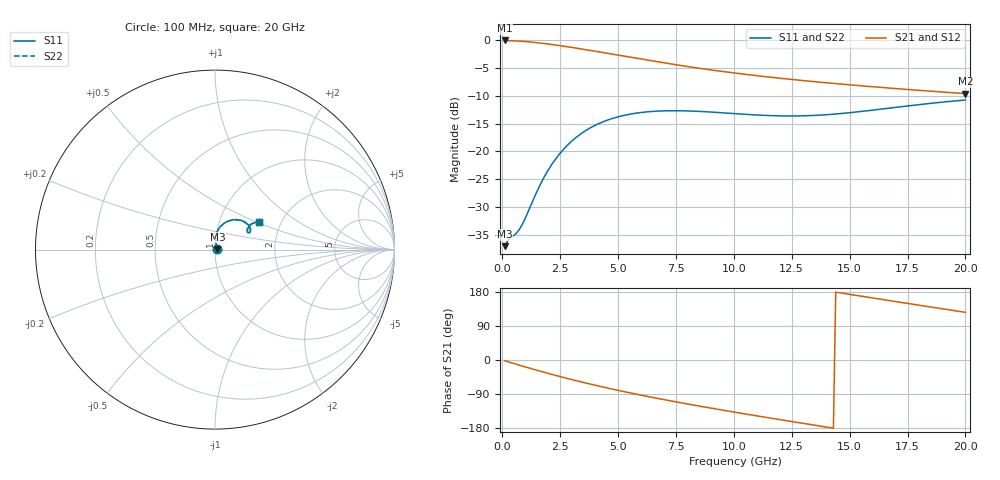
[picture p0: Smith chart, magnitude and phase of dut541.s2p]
! Touchstone file exported from HFSS 2024.1.0
!  File:  C:/UserFiles/LocalFiles/RDL_TSV_Batchsim/temp_RDL_TSV_541_1779747215.aedt
!  Generated:  06:27:30 AM May 26, 2026
!  Design:  RDL_TSV
!  Project:  temp_RDL_TSV_541_1779747215
!  Setup:  Setup1
!  Solution:  Sweep
! Variables:
!  dtsv = 7.47um
!  hbump = 3um
!  htsv = 70.27um
!  ldown = 632.27um
!  lrdl = 433.35um
!  p = 40
!  p1 = 46.56um
!  rhole = 10um
!  subl = 3630.21um
!  t = 450um
!  tdown = 4.83um
!  trdl = 3.68um
!  viad = 10um
!  wdown = 23.53um
!  wrdl = 26.04um
!  xbump = 18um
# GHz S MA R 50.000000
! Terminal data exported
! Port[1] = TM1_1_T1
! Port[2] = TM1_4_T1
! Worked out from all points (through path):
!   200 points, 100 MHz to 20 GHz, reference 50 ohm
!   highest |S21| = -0.12 dB at 100 MHz (marker M1); lowest = -9.6 dB at 20 GHz (marker M2)
!   group delay of S21, straight-line fit = 31 ps
!   lowest |S11| = -37.0 dB at 100 MHz (marker M3), VSWR 1.03, Z = 51.4 + j0.317 ohm
!   |S11| at or under -10 dB: start of sweep to end of sweep
!   |S22| runs from -37.0 to -10.8 dB; largest |S21 - S12| = 5.1e-14
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0.1  0.01418 12.6  0.9859 -1.9  0.9859 -1.9  0.01418 12.6
! Gamma 0 0 0 0
! Port Impedance 50 0 50 0
0.3  0.01645 26.1  0.9824 -5.7  0.9824 -5.7  0.01646 26.1
0.6  0.01848 44.8  0.9759 -11.2  0.9759 -11.2  0.0185 44.7
0.8  0.02103 58.7  0.9702 -14.8  0.9702 -14.8  0.02104 58.5
1.3  0.03545 82.0  0.951 -23.7  0.951 -23.7  0.03537 81.8
1.8  0.05848 87.9  0.9262 -32.3  0.9262 -32.3  0.05826 87.7
2.2  0.07991 86.7  0.9035 -39.0  0.9035 -39.0  0.07955 86.5
2.6  0.1021 83.2  0.8793 -45.4  0.8793 -45.4  0.1016 83.0
3  0.1238 78.7  0.8542 -51.6  0.8542 -51.6  0.1232 78.5
3.5  0.149 72.6  0.8222 -59.2  0.8222 -59.2  0.1482 72.4
4.2  0.1789 64.0  0.7776 -69.3  0.7776 -69.3  0.1778 63.8
4.9  0.2015 56.0  0.7343 -78.8  0.7343 -78.8  0.2003 55.8
5.8  0.2205 47.0  0.6821 -90.4  0.6821 -90.4  0.2189 46.9
6.8  0.2301 39.0  0.6299 -102.5  0.6299 -102.5  0.2284 38.8
8.4  0.2289 30.2  0.5598 -120.5  0.5598 -120.5  0.2268 30.1
10.1  0.2176 26.2  0.5018 -138.4  0.5018 -138.4  0.2154 26.2
11.7  0.2089 26.9  0.4592 -154.5  0.4592 -154.5  0.2067 27.0
13.4  0.2099 30.3  0.423 -171.2  0.423 -171.2  0.2077 30.6
15  0.2223 33.5  0.3949 173.2  0.3949 173.2  0.2203 33.8
16.7  0.244 34.9  0.3695 156.9  0.3695 156.9  0.2422 35.2
18.4  0.2682 34.0  0.3475 140.8  0.3475 140.8  0.2664 34.3
20  0.2886 31.6  0.3295 125.8  0.3295 125.8  0.2868 31.9
